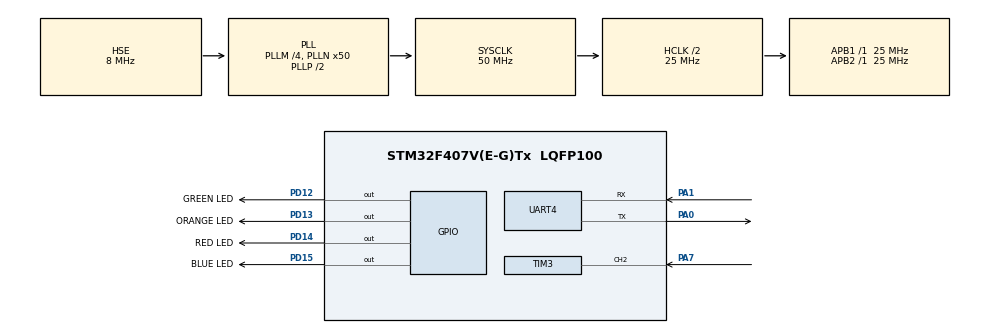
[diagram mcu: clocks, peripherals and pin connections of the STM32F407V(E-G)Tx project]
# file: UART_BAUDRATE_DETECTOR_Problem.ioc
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Mcu.Family=STM32F4
Mcu.Name=STM32F407V(E-G)Tx
Mcu.Package=LQFP100
NVIC.PriorityGroup=NVIC_PRIORITYGROUP_0
NVIC.TIM3_IRQn=true\:0\:0\:false\:false\:true\:true\:true\:true
NVIC.UART4_IRQn=true\:0\:0\:false\:false\:true\:true\:true\:true
PA0-WKUP.Mode=Asynchronous
PA0-WKUP.Signal=UART4_TX
PA1.Mode=Asynchronous
PA1.Signal=UART4_RX
PA7.Signal=S_TIM3_CH2
PD12.GPIO_Label=GREEN LED
PD12.Signal=GPIO_Output
PD13.GPIO_Label=ORANGE LED
PD13.Signal=GPIO_Output
PD14.GPIO_Label=RED LED
PD14.Signal=GPIO_Output
PD15.GPIO_Label=BLUE LED
PD15.Signal=GPIO_Output
PH0-OSC_IN.Mode=HSE-External-Oscillator
PH0-OSC_IN.Signal=RCC_OSC_IN
PH1-OSC_OUT.Mode=HSE-External-Oscillator
PH1-OSC_OUT.Signal=RCC_OSC_OUT
ProjectManager.HeapSize=0x200
ProjectManager.StackSize=0x400
ProjectManager.TargetToolchain=STM32CubeIDE
RCC.48MHZClocksFreq_Value=14285714.285714285
RCC.AHBCLKDivider=RCC_SYSCLK_DIV2
RCC.AHBFreq_Value=25000000
RCC.APB1Freq_Value=25000000
RCC.APB1TimFreq_Value=25000000
RCC.APB2Freq_Value=25000000
RCC.APB2TimFreq_Value=25000000
RCC.CortexFreq_Value=25000000
RCC.HCLKFreq_Value=25000000
RCC.HSE_VALUE=8000000
RCC.HSI_VALUE=16000000
RCC.LSE_VALUE=32768
RCC.PLLM=4
RCC.PLLN=50
RCC.PLLQ=7
RCC.PLLSourceVirtual=RCC_PLLSOURCE_HSE
RCC.SYSCLKFreq_VALUE=50000000
RCC.SYSCLKSource=RCC_SYSCLKSOURCE_PLLCLK
RCC.VCOOutputFreq_Value=100000000
SH.S_TIM3_CH2.0=TIM3_CH2,Input_Capture2_from_TI2
TIM3.Channel-Input_Capture2_from_TI2=TIM_CHANNEL_2
TIM3.ICPolarity_CH2=TIM_INPUTCHANNELPOLARITY_BOTHEDGE
UART4.VirtualMode=Asynchronous
board=STM32F407G-DISC1

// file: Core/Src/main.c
/* USER CODE BEGIN Header */
/**
  ******************************************************************************
  * @file           : main.c
  * @brief          : Main program body
  ******************************************************************************
  * @attention
  *
  * Copyright (c) 2025 STMicroelectronics.
  * All rights reserved.
  *
  * This software is licensed under terms that can be found in the LICENSE file
  * in the root directory of this software component.
  * If no LICENSE file comes with this software, it is provided AS-IS.
  *
  ******************************************************************************
  */
/* USER CODE END Header */
#include "main.h"

/* USER CODE BEGIN Includes */
#include <stdlib.h>
/* USER CODE END Includes */

/* USER CODE BEGIN PTD */
typedef enum {
	GET_BAUD,
	SET_BAUD,
	RECEIVE
} baud_state;

baud_state state = GET_BAUD;
/* USER CODE END PTD */

TIM_HandleTypeDef htim3;

UART_HandleTypeDef huart4;

/* USER CODE BEGIN PV */
UART_HandleTypeDef huart5;
uint32_t last_captured_value=0;
volatile uint8_t first_time = 0;
uint8_t TxBuffer = 0x55;
uint8_t RxBuffer = {0};
uint32_t elapsed_time[5] = {0};
uint8_t c = 0;
volatile uint8_t dataReceived = 0;
double baudrate = 0;
/* USER CODE END PV */

void SystemClock_Config(void);
static void MX_GPIO_Init(void);
static void MX_UART4_Init(void);
static void MX_TIM3_Init(void);
/* USER CODE BEGIN PFP */
void MX_UART5_Init(uint32_t baudrate);
/* USER CODE END PFP */

/* USER CODE BEGIN 0 */
void HAL_TIM_IC_CaptureCallback(TIM_HandleTypeDef *htim)
{
	if (!first_time)
	{
		last_captured_value = TIM3->CCR2;
		TIM3->CCR2 = 0;
		first_time = 1;
	}
	else{
		first_time = 0;
		elapsed_time[c] = TIM3->CCR2 - last_captured_value;
		c++;
	}
	/* If working with two channels for both rising and falling edge
	if (htim->Instance == TIM2)
	{

	if (htim->Channel == HAL_TIM_ACTIVE_CHANNEL_1)
	{
	    last_captured_value = TIM2->CCR1;
	    TIM2->CCR1 = 0;
	}
	else if (htim->Channel == HAL_TIM_ACTIVE_CHANNEL_2){
		elapsed_time[c] = TIM2->CCR2-last_captured_value;
		c++;
		TIM2->CCR2 = 0;
	}
	}
	*/
}
/* USER CODE END 0 */

int main(void)
{

  /* MCU Configuration--------------------------------------------------------*/

  /* Reset of all peripherals, Initializes the Flash interface and the Systick. */
  HAL_Init();

  /* Configure the system clock */
  SystemClock_Config();

  /* Initialize all configured peripherals */
  MX_GPIO_Init();
  MX_UART4_Init();
  MX_TIM3_Init();
  /* USER CODE BEGIN 2 */
  HAL_TIM_IC_Start_IT(&htim3, TIM_CHANNEL_2);
  TIM3->CCR2 = 0;
  /* USER CODE END 2 */

  /* Infinite loop */
  /* USER CODE BEGIN WHILE */
  while (1)
  {
	  switch(state)
	 	  {
	 	  case GET_BAUD:
	 		  if(elapsed_time[4] != 0)
	 		  {
	 			  uint32_t pll = HAL_RCC_GetPCLK2Freq();
	 			   baudrate = 1/((double)elapsed_time[4] / pll);
	 			  if(abs((int)baudrate  - 115200) < 9)
	 			  {
	 				  state = SET_BAUD;
	 			  }
	 		  }
	 		  break;

	 	  case SET_BAUD:
	 		  __HAL_TIM_DISABLE_IT(&htim3, TIM_IT_CC2);
	 		  MX_UART5_Init(baudrate);
	 		  state = RECEIVE;
	 		  break;

	 	  case RECEIVE:
	 		 if(HAL_OK != HAL_UART_Transmit_IT(&huart4, &TxBuffer, 1))
	 		 {
	 			 Error_Handler();
	 		 }
	 		if(HAL_OK != HAL_UART_Receive(&huart5, &RxBuffer, 1, HAL_MAX_DELAY))
	 		{
	 			Error_Handler();
	 		}
	 		  break;
	 	  }

	 	  if(RxBuffer != 0)
	 	  {
	 		 HAL_GPIO_WritePin(GREEN_LED_GPIO_Port, GREEN_LED_Pin, (RxBuffer == TxBuffer));
	 		 HAL_GPIO_WritePin(ORANGE_LED_GPIO_Port, ORANGE_LED_Pin, !(RxBuffer == TxBuffer));
	 		 memset(&RxBuffer, 0x0, sizeof(RxBuffer));
	 	  }

	 	 HAL_GPIO_TogglePin(BLUE_LED_GPIO_Port, BLUE_LED_Pin);
	 	 HAL_UART_Transmit_IT(&huart4, &TxBuffer, 1);
	 	 HAL_Delay(500);
    /* USER CODE END WHILE */

  }
}

void SystemClock_Config(void)
{
  RCC_OscInitTypeDef RCC_OscInitStruct = {0};
  RCC_ClkInitTypeDef RCC_ClkInitStruct = {0};

  /** Configure the main internal regulator output voltage
  */
  __HAL_RCC_PWR_CLK_ENABLE();
  __HAL_PWR_VOLTAGESCALING_CONFIG(PWR_REGULATOR_VOLTAGE_SCALE1);

  /** Initializes the RCC Oscillators according to the specified parameters
  * in the RCC_OscInitTypeDef structure.
  */
  RCC_OscInitStruct.OscillatorType = RCC_OSCILLATORTYPE_HSE;
  RCC_OscInitStruct.HSEState = RCC_HSE_ON;
  RCC_OscInitStruct.PLL.PLLState = RCC_PLL_ON;
  RCC_OscInitStruct.PLL.PLLSource = RCC_PLLSOURCE_HSE;
  RCC_OscInitStruct.PLL.PLLM = 4;
  RCC_OscInitStruct.PLL.PLLN = 50;
  RCC_OscInitStruct.PLL.PLLP = RCC_PLLP_DIV2;
  RCC_OscInitStruct.PLL.PLLQ = 7;
  if (HAL_RCC_OscConfig(&RCC_OscInitStruct) != HAL_OK)
  {
    Error_Handler();
  }

  /** Initializes the CPU, AHB and APB buses clocks
  */
  RCC_ClkInitStruct.ClockType = RCC_CLOCKTYPE_HCLK|RCC_CLOCKTYPE_SYSCLK
                              |RCC_CLOCKTYPE_PCLK1|RCC_CLOCKTYPE_PCLK2;
  RCC_ClkInitStruct.SYSCLKSource = RCC_SYSCLKSOURCE_PLLCLK;
  RCC_ClkInitStruct.AHBCLKDivider = RCC_SYSCLK_DIV2;
  RCC_ClkInitStruct.APB1CLKDivider = RCC_HCLK_DIV1;
  RCC_ClkInitStruct.APB2CLKDivider = RCC_HCLK_DIV1;

  if (HAL_RCC_ClockConfig(&RCC_ClkInitStruct, FLASH_LATENCY_0) != HAL_OK)
  {
    Error_Handler();
  }
}

static void MX_TIM3_Init(void)
{

  TIM_MasterConfigTypeDef sMasterConfig = {0};
  TIM_IC_InitTypeDef sConfigIC = {0};

  htim3.Instance = TIM3;
  htim3.Init.Prescaler = 0;
  htim3.Init.CounterMode = TIM_COUNTERMODE_UP;
  htim3.Init.Period = 65535;
  htim3.Init.ClockDivision = TIM_CLOCKDIVISION_DIV1;
  htim3.Init.AutoReloadPreload = TIM_AUTORELOAD_PRELOAD_DISABLE;
  if (HAL_TIM_IC_Init(&htim3) != HAL_OK)
  {
    Error_Handler();
  }
  sMasterConfig.MasterOutputTrigger = TIM_TRGO_RESET;
  sMasterConfig.MasterSlaveMode = TIM_MASTERSLAVEMODE_DISABLE;
  if (HAL_TIMEx_MasterConfigSynchronization(&htim3, &sMasterConfig) != HAL_OK)
  {
    Error_Handler();
  }
  sConfigIC.ICPolarity = TIM_INPUTCHANNELPOLARITY_BOTHEDGE;
  sConfigIC.ICSelection = TIM_ICSELECTION_DIRECTTI;
  sConfigIC.ICPrescaler = TIM_ICPSC_DIV1;
  sConfigIC.ICFilter = 0;
  if (HAL_TIM_IC_ConfigChannel(&htim3, &sConfigIC, TIM_CHANNEL_2) != HAL_OK)
  {
    Error_Handler();
  }

}

static void MX_UART4_Init(void)
{

  huart4.Instance = UART4;
  huart4.Init.BaudRate = 115200;
  huart4.Init.WordLength = UART_WORDLENGTH_8B;
  huart4.Init.StopBits = UART_STOPBITS_1;
  huart4.Init.Parity = UART_PARITY_NONE;
  huart4.Init.Mode = UART_MODE_TX_RX;
  huart4.Init.HwFlowCtl = UART_HWCONTROL_NONE;
  huart4.Init.OverSampling = UART_OVERSAMPLING_16;
  if (HAL_UART_Init(&huart4) != HAL_OK)
  {
    Error_Handler();
  }

}

static void MX_GPIO_Init(void)
{
  GPIO_InitTypeDef GPIO_InitStruct = {0};

  /* GPIO Ports Clock Enable */
  __HAL_RCC_GPIOH_CLK_ENABLE();
  __HAL_RCC_GPIOA_CLK_ENABLE();
  __HAL_RCC_GPIOD_CLK_ENABLE();

  /*Configure GPIO pin Output Level */
  HAL_GPIO_WritePin(GPIOD, GREEN_LED_Pin|ORANGE_LED_Pin|RED_LED_Pin|BLUE_LED_Pin, GPIO_PIN_RESET);

  /*Configure GPIO pins : GREEN_LED_Pin ORANGE_LED_Pin RED_LED_Pin BLUE_LED_Pin */
  GPIO_InitStruct.Pin = GREEN_LED_Pin|ORANGE_LED_Pin|RED_LED_Pin|BLUE_LED_Pin;
  GPIO_InitStruct.Mode = GPIO_MODE_OUTPUT_PP;
  GPIO_InitStruct.Pull = GPIO_NOPULL;
  GPIO_InitStruct.Speed = GPIO_SPEED_FREQ_LOW;
  HAL_GPIO_Init(GPIOD, &GPIO_InitStruct);

}

/* USER CODE BEGIN 4 */
void MX_UART5_Init(uint32_t baudrate)
{

  /* USER CODE BEGIN UART5_Init 0 */

  /* USER CODE END UART5_Init 0 */

  /* USER CODE BEGIN UART5_Init 1 */

  /* USER CODE END UART5_Init 1 */
  huart5.Instance = UART5;
  huart5.Init.BaudRate = baudrate;
  huart5.Init.WordLength = UART_WORDLENGTH_8B;
  huart5.Init.StopBits = UART_STOPBITS_1;
  huart5.Init.Parity = UART_PARITY_NONE;
  huart5.Init.Mode = UART_MODE_TX_RX;
  huart5.Init.HwFlowCtl = UART_HWCONTROL_NONE;
  huart5.Init.OverSampling = UART_OVERSAMPLING_16;
  if (HAL_UART_Init(&huart5) != HAL_OK)
  {
    Error_Handler();
  }
  /* USER CODE BEGIN UART5_Init 2 */

  /* USER CODE END UART5_Init 2 */

}
/* USER CODE END 4 */

void Error_Handler(void)
{
  /* USER CODE BEGIN Error_Handler_Debug */
	HAL_GPIO_WritePin(RED_LED_GPIO_Port, RED_LED_Pin, SET);
  /* User can add his own implementation to report the HAL error return state */
  __disable_irq();
  while (1)
  {
  }
  /* USER CODE END Error_Handler_Debug */
}
